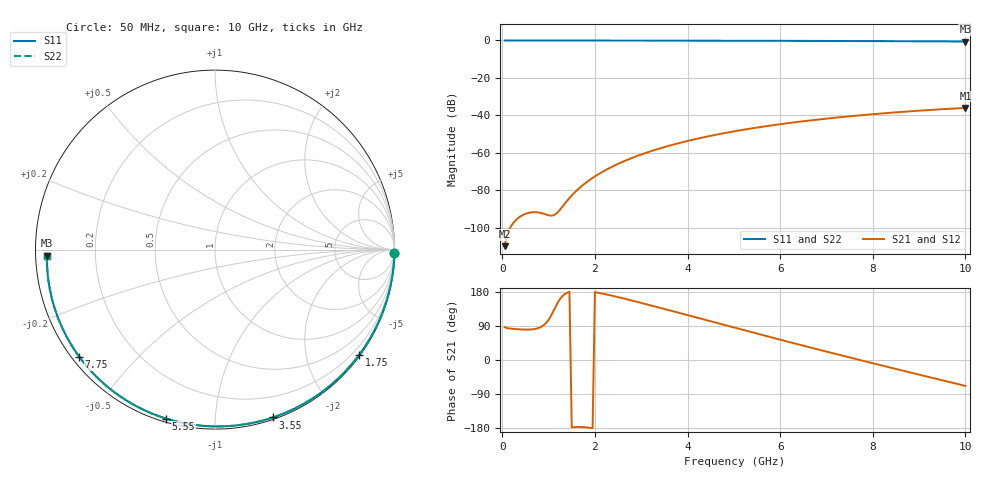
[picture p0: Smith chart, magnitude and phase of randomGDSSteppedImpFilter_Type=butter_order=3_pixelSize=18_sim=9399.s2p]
! freq	dB(S11)	phase(S11)	dB(S12)	phase(S12)
!  dB(S21)	phase(S21)	dB(S22)	phase(S22)
!S-par simulation data
#  GHz  S  DB  R 50
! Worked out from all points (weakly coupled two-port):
!   200 points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, 50 MHz to 10 GHz, reference 50 ohm
!   highest |S21| = -36.06 dB at 10 GHz (marker M1); lowest = -109.9 dB at 50 MHz (marker M2)
!   lowest |S11| = -0.6 dB at 10 GHz (marker M3), VSWR 30.81, Z = 1.62 - j0.923 ohm
!   |S11| at or under -10 dB: nowhere
!   |S22| runs from -0.6 to 0.0 dB; largest |S21 - S12| = 0
!   S11 on the Smith chart (normalised r, x): 50 MHz: open; 1.75 GHz: 0.03, -3.06; 3.55 GHz: 0.02, -1.40; 5.55 GHz: 0.02, -0.75; 7.75 GHz: 0.02, -0.35; 10 GHz: 0.03, -0.02
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0.05  -0.00 -1.1  -109.94 86.5  -109.94 86.5  -0.00 -1.1
0.4  -0.01 -8.4  -93.90 80.7  -93.90 80.7  -0.01 -8.4
0.8  -0.02 -16.8  -92.00 85.2  -92.00 85.2  -0.02 -16.8
1.2  -0.03 -25.0  -91.74 152.2  -91.74 152.2  -0.03 -25.0
1.6  -0.04 -33.2  -80.34 -176.7  -80.34 -176.7  -0.04 -33.2
1.75  -0.05 -36.2  -77.09 -177.0  -77.09 -177.0  -0.05 -36.2
1.9  -0.05 -39.2  -74.30 -179.1  -74.30 -179.1  -0.05 -39.2
2.05  -0.05 -42.2  -71.86 177.9  -71.86 177.9  -0.05 -42.2
2.25  -0.06 -46.2  -69.01 173.0  -69.01 173.0  -0.06 -46.2
2.45  -0.06 -50.1  -66.52 167.4  -66.52 167.4  -0.06 -50.1
2.9  -0.08 -58.8  -61.85 153.8  -61.85 153.8  -0.08 -58.8
3.4  -0.09 -68.2  -57.71 137.8  -57.71 137.8  -0.09 -68.2
3.55  -0.09 -71.0  -56.62 133.0  -56.62 133.0  -0.09 -71.0
4.3  -0.12 -84.6  -52.00 108.5  -52.00 108.5  -0.12 -84.6
5.05  -0.15 -97.7  -48.38 84.1  -48.38 84.1  -0.15 -97.7
5.55  -0.17 -106.1  -46.36 67.9  -46.36 67.9  -0.17 -106.1
6.1  -0.20 -115.2  -44.42 50.4  -44.42 50.4  -0.20 -115.2
6.7  -0.24 -125.0  -42.59 31.5  -42.59 31.5  -0.24 -125.0
7.75  -0.32 -141.7  -39.95 -1.0  -39.95 -1.0  -0.32 -141.7
8.35  -0.38 -151.2  -38.70 -19.2  -38.70 -19.2  -0.38 -151.2
9.2  -0.47 -164.8  -37.20 -44.6  -37.20 -44.6  -0.47 -164.8
10  -0.56 -177.9  -36.06 -68.3  -36.06 -68.3  -0.56 -177.9
